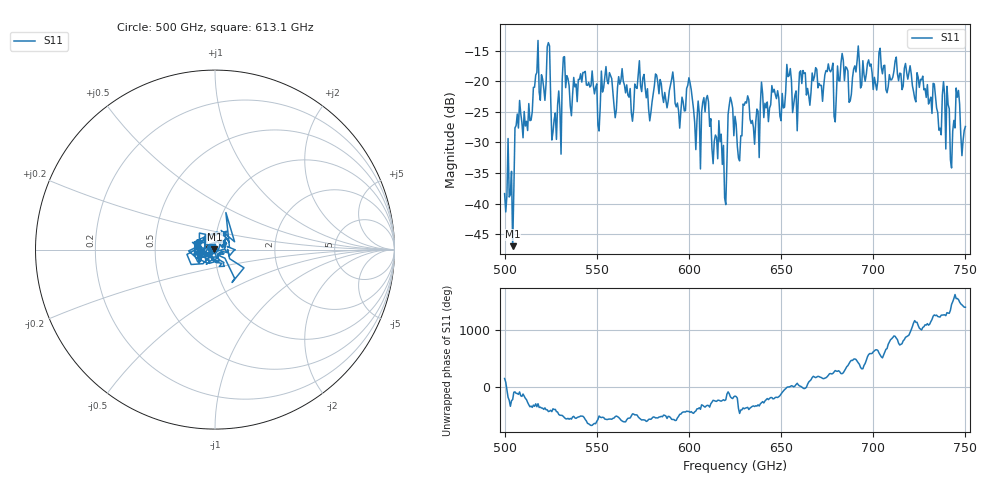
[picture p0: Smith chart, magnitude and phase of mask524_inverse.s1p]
!Created with skrf (http://scikit-rf.org).
# GHz S MA R 50.0
!freq magS11 angS11
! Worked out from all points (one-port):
!   401 points, 500 GHz to 750 GHz, reference 50 ohm
!   lowest |S11| = -46.9 dB at 504.4 GHz (marker M1), VSWR 1.01, Z = 49.6 + j0.24 ohm
!   |S11| at or under -10 dB: start of sweep to end of sweep
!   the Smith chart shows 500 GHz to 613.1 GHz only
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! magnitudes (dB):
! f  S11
! 500 GHz  -38.3
! 504.4 GHz  -46.9
! 506.9 GHz  -25.4
! 513.8 GHz  -26.4
! 516.9 GHz  -19.0
! 523.8 GHz  -13.7
! 526.9 GHz  -26.3
! 531.2 GHz  -19.8
! 562.5 GHz  -20.5
! 579.4 GHz  -25.1
! 590.6 GHz  -19.7
! 593.8 GHz  -23.6
! 600 GHz  -19.4
! 605 GHz  -23.2
! 609.4 GHz  -22.9
! 619.4 GHz  -39.0
! 622.5 GHz  -22.6
! 625 GHz  -25.7
! 656.2 GHz  -25.1
! 676.9 GHz  -18.5
! 680 GHz  -22.3
! 683.8 GHz  -16.6
! 687.5 GHz  -23.2
! 691.2 GHz  -16.7
! 718.8 GHz  -19.7
! 743.1 GHz  -28.1
! 745.6 GHz  -22.6
! 750 GHz  -27.4
